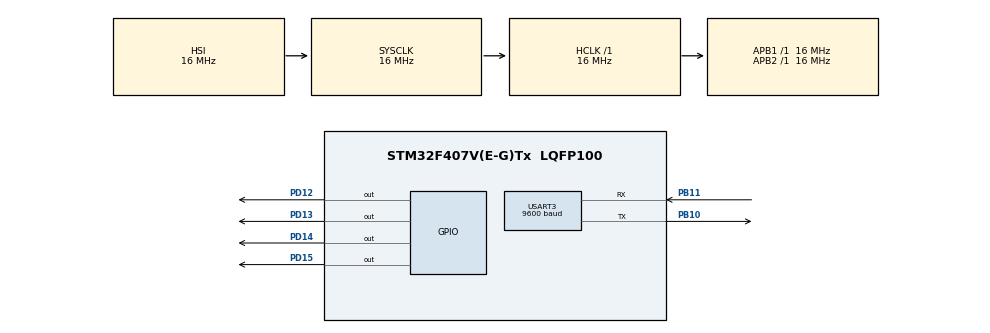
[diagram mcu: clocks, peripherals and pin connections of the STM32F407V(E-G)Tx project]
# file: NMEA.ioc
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Mcu.Family=STM32F4
Mcu.Name=STM32F407V(E-G)Tx
Mcu.Package=LQFP100
NVIC.PriorityGroup=NVIC_PRIORITYGROUP_4
NVIC.TIM6_DAC_IRQn=true\:0\:0\:false\:false\:true\:true\:true
NVIC.USART3_IRQn=true\:0\:0\:false\:false\:true\:true\:true
PA13.Mode=Serial_Wire
PA13.Signal=SYS_JTMS-SWDIO
PA14.Mode=Serial_Wire
PA14.Signal=SYS_JTCK-SWCLK
PB10.Mode=Asynchronous
PB10.Signal=USART3_TX
PB11.Mode=Asynchronous
PB11.Signal=USART3_RX
PD12.Signal=GPIO_Output
PD13.Signal=GPIO_Output
PD14.Signal=GPIO_Output
PD15.Signal=GPIO_Output
ProjectManager.HeapSize=0x200
ProjectManager.StackSize=0x400
ProjectManager.TargetToolchain=STM32CubeIDE
RCC.AHBFreq_Value=16000000
RCC.APB1Freq_Value=16000000
RCC.APB2Freq_Value=16000000
RCC.CortexFreq_Value=16000000
RCC.HSE_VALUE=25000000
RCC.HSI_VALUE=16000000
RCC.LSE_VALUE=32768
RCC.SYSCLKFreq_VALUE=16000000
RCC.VCOOutputFreq_Value=192000000
TIM6.AutoReloadPreload=TIM_AUTORELOAD_PRELOAD_ENABLE
TIM6.Period=999
TIM6.Prescaler=15
USART3.BaudRate=9600
USART3.VirtualMode=VM_ASYNC
VP_TIM6_VS_ClockSourceINT.Mode=Enable_Timer
board=custom

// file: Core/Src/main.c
/* USER CODE BEGIN Header */
/**
  ******************************************************************************
  * @file           : main.c
  * @brief          : Main program body
  ******************************************************************************
  * @attention
  *
  * <h2><center>&copy; Copyright (c) 2021 STMicroelectronics.
  * All rights reserved.</center></h2>
  *
  * This software component is licensed by ST under BSD 3-Clause license,
  * the "License"; You may not use this file except in compliance with the
  * License. You may obtain a copy of the License at:
  *                        opensource.org/licenses/BSD-3-Clause
  *
  ******************************************************************************
  */
/* USER CODE END Header */
#include "main.h"

/* USER CODE BEGIN Includes */
#include "NMEA.h"
/* USER CODE END Includes */

TIM_HandleTypeDef htim6;

UART_HandleTypeDef huart3;

/* USER CODE BEGIN PV */
float longi = 0, lat =0;
  char ns,ew;
  uint8_t h,m;
  float s;
  float alti;
/* USER CODE END PV */

void SystemClock_Config(void);
static void MX_GPIO_Init(void);
static void MX_TIM6_Init(void);
static void MX_USART3_UART_Init(void);

/* USER CODE BEGIN 0 */
void HAL_UART_RxCpltCallback(UART_HandleTypeDef *huart){
	if(huart->Instance == USART3){
		NMEA_ReadByte();
	}
}
/* USER CODE END 0 */

int main(void)
{

  /* MCU Configuration--------------------------------------------------------*/

  /* Reset of all peripherals, Initializes the Flash interface and the Systick. */
  HAL_Init();

  /* Configure the system clock */
  SystemClock_Config();

  /* Initialize all configured peripherals */
  MX_GPIO_Init();
  MX_TIM6_Init();
  MX_USART3_UART_Init();
  /* USER CODE BEGIN 2 */
  HAL_TIM_Base_Start_IT(&htim6);
  NMEA_Init(&huart3);
  /* USER CODE END 2 */

  /* Infinite loop */
  /* USER CODE BEGIN WHILE */
  while (1)
  {
	  NMEA_Parser();

	  NMEA_Get_GGA_Longitude(&longi, &ew);
	  NMEA_Get_GGA_Latitude(&lat, &ns);
	  NMEA_Get_GGA_UTC_Time(&h, &m, &s);
	  NMEA_Get_GGA_MSL_Altitude(&alti);
    /* USER CODE END WHILE */

  }
}

void SystemClock_Config(void)
{
  RCC_OscInitTypeDef RCC_OscInitStruct = {0};
  RCC_ClkInitTypeDef RCC_ClkInitStruct = {0};

  /** Configure the main internal regulator output voltage
  */
  __HAL_RCC_PWR_CLK_ENABLE();
  __HAL_PWR_VOLTAGESCALING_CONFIG(PWR_REGULATOR_VOLTAGE_SCALE1);
  /** Initializes the RCC Oscillators according to the specified parameters
  * in the RCC_OscInitTypeDef structure.
  */
  RCC_OscInitStruct.OscillatorType = RCC_OSCILLATORTYPE_HSI;
  RCC_OscInitStruct.HSIState = RCC_HSI_ON;
  RCC_OscInitStruct.HSICalibrationValue = RCC_HSICALIBRATION_DEFAULT;
  RCC_OscInitStruct.PLL.PLLState = RCC_PLL_NONE;
  if (HAL_RCC_OscConfig(&RCC_OscInitStruct) != HAL_OK)
  {
    Error_Handler();
  }
  /** Initializes the CPU, AHB and APB buses clocks
  */
  RCC_ClkInitStruct.ClockType = RCC_CLOCKTYPE_HCLK|RCC_CLOCKTYPE_SYSCLK
                              |RCC_CLOCKTYPE_PCLK1|RCC_CLOCKTYPE_PCLK2;
  RCC_ClkInitStruct.SYSCLKSource = RCC_SYSCLKSOURCE_HSI;
  RCC_ClkInitStruct.AHBCLKDivider = RCC_SYSCLK_DIV1;
  RCC_ClkInitStruct.APB1CLKDivider = RCC_HCLK_DIV1;
  RCC_ClkInitStruct.APB2CLKDivider = RCC_HCLK_DIV1;

  if (HAL_RCC_ClockConfig(&RCC_ClkInitStruct, FLASH_LATENCY_0) != HAL_OK)
  {
    Error_Handler();
  }
}

static void MX_TIM6_Init(void)
{

  TIM_MasterConfigTypeDef sMasterConfig = {0};

  htim6.Instance = TIM6;
  htim6.Init.Prescaler = 15;
  htim6.Init.CounterMode = TIM_COUNTERMODE_UP;
  htim6.Init.Period = 999;
  htim6.Init.AutoReloadPreload = TIM_AUTORELOAD_PRELOAD_ENABLE;
  if (HAL_TIM_Base_Init(&htim6) != HAL_OK)
  {
    Error_Handler();
  }
  sMasterConfig.MasterOutputTrigger = TIM_TRGO_RESET;
  sMasterConfig.MasterSlaveMode = TIM_MASTERSLAVEMODE_DISABLE;
  if (HAL_TIMEx_MasterConfigSynchronization(&htim6, &sMasterConfig) != HAL_OK)
  {
    Error_Handler();
  }

}

static void MX_USART3_UART_Init(void)
{

  huart3.Instance = USART3;
  huart3.Init.BaudRate = 9600;
  huart3.Init.WordLength = UART_WORDLENGTH_8B;
  huart3.Init.StopBits = UART_STOPBITS_1;
  huart3.Init.Parity = UART_PARITY_NONE;
  huart3.Init.Mode = UART_MODE_TX_RX;
  huart3.Init.HwFlowCtl = UART_HWCONTROL_NONE;
  huart3.Init.OverSampling = UART_OVERSAMPLING_16;
  if (HAL_UART_Init(&huart3) != HAL_OK)
  {
    Error_Handler();
  }

}

static void MX_GPIO_Init(void)
{
  GPIO_InitTypeDef GPIO_InitStruct = {0};

  /* GPIO Ports Clock Enable */
  __HAL_RCC_GPIOB_CLK_ENABLE();
  __HAL_RCC_GPIOD_CLK_ENABLE();
  __HAL_RCC_GPIOA_CLK_ENABLE();

  /*Configure GPIO pin Output Level */
  HAL_GPIO_WritePin(GPIOD, GPIO_PIN_12|GPIO_PIN_13|GPIO_PIN_14|GPIO_PIN_15, GPIO_PIN_RESET);

  /*Configure GPIO pins : PD12 PD13 PD14 PD15 */
  GPIO_InitStruct.Pin = GPIO_PIN_12|GPIO_PIN_13|GPIO_PIN_14|GPIO_PIN_15;
  GPIO_InitStruct.Mode = GPIO_MODE_OUTPUT_PP;
  GPIO_InitStruct.Pull = GPIO_NOPULL;
  GPIO_InitStruct.Speed = GPIO_SPEED_FREQ_LOW;
  HAL_GPIO_Init(GPIOD, &GPIO_InitStruct);

}

/* USER CODE BEGIN 4 */
void HAL_TIM_PeriodElapsedCallback(TIM_HandleTypeDef *htim) {
	static uint16_t counter = 1000;
	if(htim->Instance == TIM6) {
		if(counter) {
			counter--;
			if(!counter) {
				counter = 1000;
				HAL_GPIO_TogglePin(GPIOD, GPIO_PIN_15);

			}
		}
	}
}
/* USER CODE END 4 */

void Error_Handler(void)
{
  __disable_irq();
  while (1)
  {
  }
}

/************************ (C) COPYRIGHT STMicroelectronics *****END OF FILE****/
